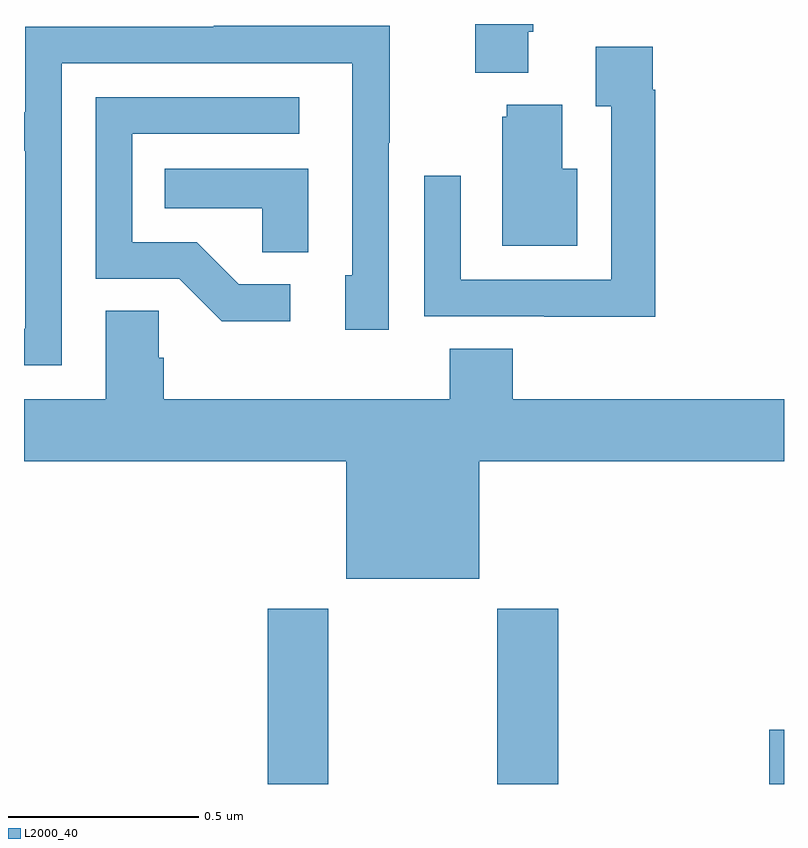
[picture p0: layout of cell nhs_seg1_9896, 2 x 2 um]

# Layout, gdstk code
import gdstk
lib = gdstk.Library(unit=1e-6, precision=1e-09)
def R(c, l, rs):  # rectangles x0, y0, x1, y1
    for r in rs: c.add(gdstk.rectangle(r[:2], r[2:], *l))
def P(c, l, *ps):  # polygons
    for p in ps: c.add(gdstk.Polygon(p, *l))
L2000_40 = (2000, 40)

nhs_seg1_9896 = lib.new_cell('nhs_seg1_9896')
R(nhs_seg1_9896, L2000_40, [(234.641,568.199,234.801,568.66), (235.246,568.199,235.406,568.66), (235.961,568.199,236,568.342)])
P(nhs_seg1_9896, L2000_40, [(235.327,570.178),(235.34,570.178),(235.34,570.199),(235.187,570.199),(235.187,570.071),(235.327,570.071)],
  [(234.099,570.096),(234.864,570.096),(234.864,569.538),(234.845,569.538),(234.845,569.394),(234.96,569.394),(234.96,569.887),(234.963,569.887),(234.963,570.194),(234.499,570.194),(234.499,570.192),(234.003,570.192),(234.003,569.967),(234,569.967),(234,569.866),(234.003,569.866),(234.003,569.397),(234,569.397),(234,569.301),(234.099,569.301)],
  [(235.661,570.026),(235.654,570.026),(235.654,570.139),(235.505,570.139),(235.505,569.983),(235.545,569.983),(235.545,569.526),(235.149,569.526),(235.149,569.8),(235.053,569.8),(235.053,569.43),(235.369,569.43),(235.369,569.429),(235.661,569.429)],
  [(234.7,569.514),(234.565,569.514),(234.454,569.625),(234.285,569.625),(234.285,569.91),(234.724,569.91),(234.724,570.006),(234.189,570.006),(234.189,569.529),(234.408,569.529),(234.521,569.417),(234.7,569.417)],
  [(235.456,569.818),(235.417,569.818),(235.417,569.986),(235.271,569.986),(235.271,569.955),(235.259,569.955),(235.259,569.615),(235.456,569.615)],
  [(234.748,569.818),(234.37,569.818),(234.37,569.714),(234.627,569.714),(234.627,569.599),(234.748,569.599)],
  [(234.848,568.739),(235.198,568.739),(235.198,569.048),(236,569.048),(236,569.212),(235.286,569.212),(235.286,569.345),(235.121,569.345),(235.121,569.212),(234.368,569.212),(234.368,569.321),(234.354,569.321),(234.354,569.444),(234.215,569.444),(234.215,569.212),(234,569.212),(234,569.048),(234.848,569.048)])

lib.write_gds('nhs_seg1_9896.gds')
